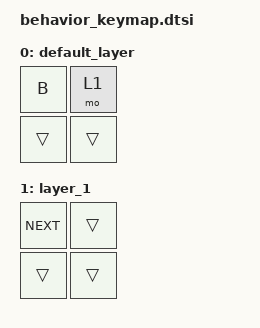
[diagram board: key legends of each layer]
#include <dt-bindings/zmk/keys.h>
#include <behaviors.dtsi>
#include <dt-bindings/zmk/kscan_mock.h>

/ {
    keymap {
        compatible = "zmk,keymap";

        default_layer {
            bindings = <
                &kp B &mo 1
                &trans &trans>;
        };

        layer_1 {
            bindings = <
                &kp C_NEXT &trans
                &trans &trans>;
        };
    };
};
